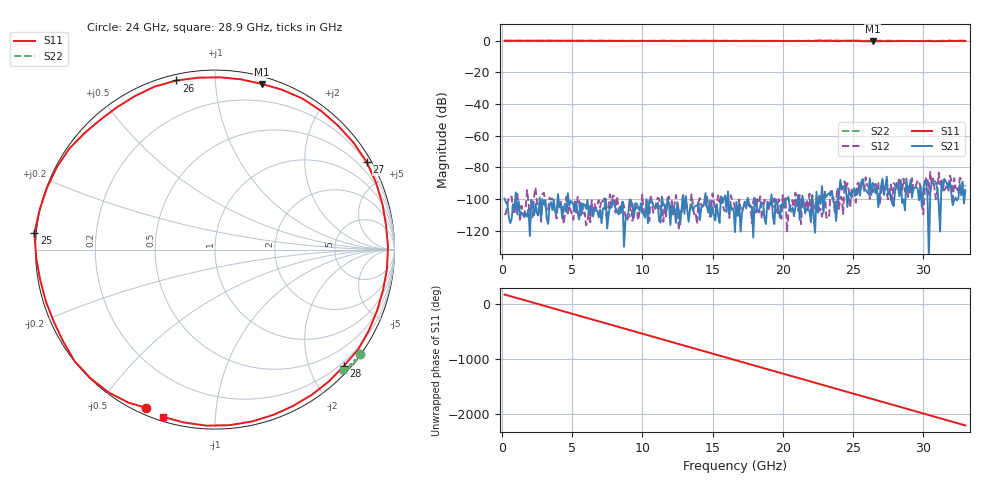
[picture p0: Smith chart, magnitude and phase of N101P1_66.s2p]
# GHZ S RI R 50
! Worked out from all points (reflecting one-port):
!   329 points, 200 MHz to 33 GHz, reference 50 ohm
!   lowest |S11| = -0.4 dB at 26.4 GHz (marker M1), VSWR 47.79, Z = 2.87 + j65.9 ohm
!   phase of S11 starts at 165 deg and turns -2368 deg over the sweep
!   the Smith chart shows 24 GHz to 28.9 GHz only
!   S11 on the Smith chart (normalised r, x): 24 GHz: 0.03, -0.66; 25 GHz: -0.01, +0.05; 26 GHz: 0.03, +0.80; 27 GHz: 0.18, +3.72; 28 GHz: 0.13, -2.59; 28.9 GHz: 0.02, -0.74
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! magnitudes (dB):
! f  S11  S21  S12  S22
! 200 MHz  0.0  -99.7  -110.2  0.0
! 5.7 GHz  -0.1  -109.1  -101.5  0.0
! 11.2 GHz  -0.2  -113.7  -99.8  0.0
! 16.6 GHz  -0.2  -120.9  -105.0  -0.1
! 22.1 GHz  -0.2  -98.2  -97.6  -0.1
! 22.6 GHz  0.1  -97.9  -107.5  0.1
! 23 GHz  -0.2  -96.6  -94.6  0.0
! 23.4 GHz  0.1  -97.9  -95.2  0.1
! 23.9 GHz  -0.2  -100.1  -92.9  0.2
! 24 GHz  -0.3  -97.7  -106.3  0.0
! 24.3 GHz  0.0  -92.0  -109.5  0.0
! 24.6 GHz  -0.1  -105.1  -90.0  0.0
! 25 GHz  0.1  -94.2  -95.1  0.0
! 25.6 GHz  -0.3  -88.9  -89.8  0.0
! 26 GHz  -0.3  -95.3  -91.3  -0.1
! 26.4 GHz  -0.4  -89.9  -95.7  0.0
! 27 GHz  -0.2  -91.8  -97.0  -0.1
! 27.6 GHz  -0.3  -95.2  -95.0  -0.1
! 28 GHz  -0.3  -93.7  -91.1  -0.1
! 28.9 GHz  -0.2  -95.2  -98.9  -0.2
! 32 GHz  -0.1  -96.5  -88.3  -0.2
! 33 GHz  -0.2  -94.5  -91.3  0.0
